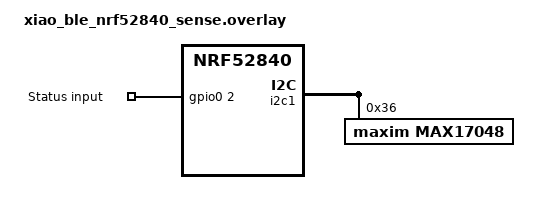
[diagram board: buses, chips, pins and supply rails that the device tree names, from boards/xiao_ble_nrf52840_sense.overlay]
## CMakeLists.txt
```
cmake_minimum_required(VERSION 3.20.0)

# AvEdan holds our custom boards/drivers as a Zephyr module (see
# AvEdan/zephyr/module.yml); it isn't in NCS's west manifest, so it's added
# explicitly rather than relying on `west update` to have fetched it.
list(APPEND ZEPHYR_EXTRA_MODULES ${CMAKE_CURRENT_SOURCE_DIR}/AvEdan)

find_package(Zephyr REQUIRED HINTS $ENV{ZEPHYR_BASE})
project(safeseat)

target_sources(app PRIVATE src/main.cpp src/beacon_task.cpp)
```

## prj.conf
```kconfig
CONFIG_PRINTK=y

CONFIG_CPP=y
CONFIG_STD_CPP17=y

CONFIG_GPIO=y

# Selects CONFIG_I2C automatically once the devicetree node is present
# (see boards/xiao_ble_nrf52840_sense.overlay).
CONFIG_FUEL_GAUGE=y

CONFIG_BT=y
CONFIG_BT_DEVICE_NAME="SafeSeat"

# NOT CONFIG_LOG: on this board, CONFIG_LOG_MODE_IMMEDIATE (synchronous log
# output) hung boot entirely once combined with bt_enable() -- confirmed by
# bisection, isolated from Bluetooth itself (bt_enable() alone works fine).
# Plain printk avoids the same conflict with BT's timing-critical code.
```

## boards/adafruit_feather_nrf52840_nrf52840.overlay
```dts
/*
 * MAX17048 fuel gauge on i2c0. The board's own devicetree already enables
 * i2c0 with pinctrl (SDA/SCL on the Feather's I2C header pins) -- this just
 * adds the fuel gauge as a child node at its fixed I2C address.
 */

/ {
	aliases {
		fuel-gauge0 = &max17048;
	};
};

&i2c0 {
	max17048: max17048@36 {
		compatible = "maxim,max17048";
		status = "okay";
		reg = <0x36>;
	};
};
```

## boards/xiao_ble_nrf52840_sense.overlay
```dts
/*
 * MAX17048 fuel gauge on i2c1 -- the general-purpose I2C bus exposed on the
 * XIAO header pins (D4/D5). i2c0 is already dedicated to the onboard IMU on
 * this board, so the fuel gauge must go on i2c1 instead.
 *
 * status_gpio0 is a placeholder external input on D0 (P0.02) -- swap the pin
 * here once the real signal to monitor is known.
 */

/ {
	status_gpios {
		compatible = "gpio-keys";

		status_gpio0: status_gpio0 {
			gpios = <&gpio0 2 GPIO_ACTIVE_HIGH>;
			label = "Status input";
		};
	};

	aliases {
		fuel-gauge0 = &max17048;
		status-gpio0 = &status_gpio0;
	};
};

&i2c1 {
	max17048: max17048@36 {
		compatible = "maxim,max17048";
		status = "okay";
		reg = <0x36>;
	};
};
```

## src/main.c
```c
#include <zephyr/kernel.h>
#include <zephyr/sys/printk.h>

int main(void)
{
	printk("SafeSeat starting\n");
	return 0;
}
```

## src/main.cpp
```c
#include <zephyr/kernel.h>

#include <zephyr/logging/log.h>
LOG_MODULE_REGISTER(main, LOG_LEVEL_DBG);

extern "C" int main(void)
{
	LOG_INF("SafeSeat starting");
	return 0;
}
```

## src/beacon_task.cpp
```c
#include <errno.h>

#include <zephyr/kernel.h>
#include <zephyr/sys/printk.h>
#include <zephyr/device.h>
#include <zephyr/devicetree.h>
#include <zephyr/drivers/gpio.h>
#include <zephyr/drivers/fuel_gauge.h>
#include <zephyr/bluetooth/bluetooth.h>

namespace {

constexpr k_timeout_t kReadInterval = K_SECONDS(5);

// This board (XIAO BLE Sense) has no onboard user button, so "status-gpio0"
// is a placeholder pointing at header pin D0 -- swap the pin in the board
// overlay once the real signal to monitor is known.
const struct gpio_dt_spec kStatusGpio = GPIO_DT_SPEC_GET(DT_ALIAS(status_gpio0), gpios);

// Requires a MAX17048 node aliased to "fuel-gauge0" in a board overlay — see
// boards/xiao_ble_nrf52840_sense.overlay.
const struct device *const kFuelGauge = DEVICE_DT_GET(DT_ALIAS(fuel_gauge0));

// This board's red LED -- flashed briefly each time the beacon is sent.
const struct gpio_dt_spec kLed = GPIO_DT_SPEC_GET(DT_ALIAS(led0), gpios);

// 0xFFFF is reserved by the Bluetooth SIG for internal/test use only --
// replace with a real assigned Company Identifier before shipping.
constexpr uint8_t kTestCompanyId[2] = {0xFF, 0xFF};

uint8_t ReadBatteryPercent()
{
    if (!device_is_ready(kFuelGauge)) {
        printk("Fuel gauge not ready\n");
        return 0;
    }

    union fuel_gauge_prop_val val;
    int err = fuel_gauge_get_prop(kFuelGauge, FUEL_GAUGE_RELATIVE_STATE_OF_CHARGE, &val);
    if (err) {
        printk("Fuel gauge read failed (err %d)\n", err);
        return 0;
    }

    return val.relative_state_of_charge;
}

void BeaconThread(void *, void *, void *)
{
    int err = bt_enable(NULL);
    if (err) {
        printk("Bluetooth init failed (err %d)\n", err);
        return;
    }

    if (!gpio_is_ready_dt(&kStatusGpio)) {
        printk("Status GPIO not ready\n");
        return;
    }
    gpio_pin_configure_dt(&kStatusGpio, GPIO_INPUT);

    if (gpio_is_ready_dt(&kLed)) {
        gpio_pin_configure_dt(&kLed, GPIO_OUTPUT_INACTIVE);
    } else {
        printk("LED not ready\n");
    }

    // [company_id_lo, company_id_hi, battery_percent, gpio_status]
    static uint8_t payload[4] = {kTestCompanyId[0], kTestCompanyId[1], 0, 0};
    const struct bt_data ad[] = {
        BT_DATA_BYTES(BT_DATA_FLAGS, BT_LE_AD_NO_BREDR),
        BT_DATA(BT_DATA_MANUFACTURER_DATA, payload, sizeof(payload)),
    };

    // _IDENTITY forces advertising to use the identity address bt_id_get()
    // reports below -- plain BT_LE_ADV_NCONN doesn't guarantee that, so the
    // printed address could otherwise not match what's actually broadcast.
    err = bt_le_adv_start(BT_LE_ADV_NCONN_IDENTITY, ad, ARRAY_SIZE(ad), NULL, 0);
    if (err) {
        printk("Advertising failed to start (err %d)\n", err);
        return;
    }

    // This is a random static address generated fresh at boot (no identity
    // persisted via CONFIG_BT_SETTINGS), so it changes every power cycle.
    bt_addr_le_t addr = {0};
    size_t count = 1;
    bt_id_get(&addr, &count);
    printk("Beacon started, advertising as %s\n", bt_addr_le_str(&addr));

    while (true) {
        int gpio_status = gpio_pin_get_dt(&kStatusGpio);
        uint8_t battery_percent = ReadBatteryPercent();

        payload[2] = battery_percent;
        payload[3] = static_cast<uint8_t>(gpio_status > 0);

        err = bt_le_adv_update_data(ad, ARRAY_SIZE(ad), NULL, 0);
        if (err == -EAGAIN) {
            // Advertising got disabled from under us (controller-side, not
            // something this code did) -- update_data() only refreshes an
            // already-running advertiser, so restart it from scratch.
            printk("Advertising was stopped, restarting\n");
            err = bt_le_adv_start(BT_LE_ADV_NCONN_IDENTITY, ad, ARRAY_SIZE(ad), NULL, 0);
        }
        if (err) {
            printk("Advertising update failed (err %d)\n", err);
        } else {
            // TODO: remove the repeated address print once it's no longer
            // needed for bench testing -- it's the same address every cycle.
            printk("Beacon updated: battery=%u%% gpio=%d addr=%s\n", battery_percent,
                   gpio_status, bt_addr_le_str(&addr));
            gpio_pin_set_dt(&kLed, 1);
            k_sleep(K_MSEC(100));
            gpio_pin_set_dt(&kLed, 0);
        }

        k_sleep(kReadInterval);
    }
}

} // namespace

K_THREAD_DEFINE(beacon_tid, 4096, BeaconThread, NULL, NULL, NULL, 7, 0, 0);
```
